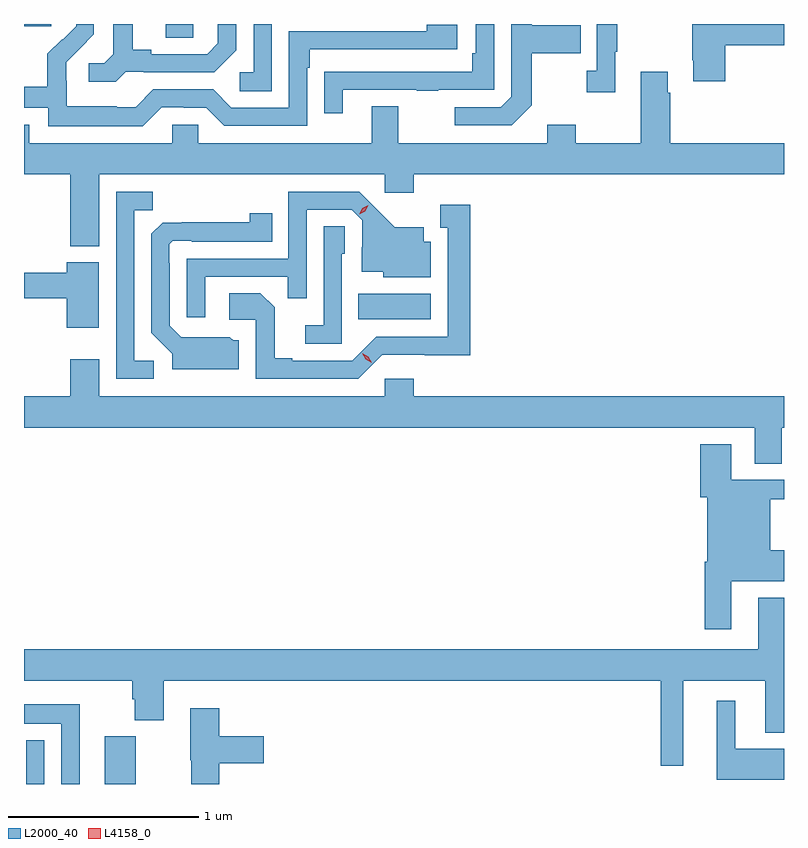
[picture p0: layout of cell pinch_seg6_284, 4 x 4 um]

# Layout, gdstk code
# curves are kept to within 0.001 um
import gdstk
lib = gdstk.Library(unit=1e-6, precision=1e-09)
def R(c, l, rs):  # rectangles x0, y0, x1, y1
    for r in rs: c.add(gdstk.rectangle(r[:2], r[2:], *l))
def P(c, l, *ps):  # polygons
    for p in ps: c.add(gdstk.Polygon(p, *l))
L2000_40 = (2000, 40)
L4158_0 = (4158, 0)

pinch_seg6_284 = lib.new_cell('pinch_seg6_284')
R(pinch_seg6_284, L2000_40, [(862.893,993.412,862.989,993.643), (863.306,993.412,863.47,993.663), (864.64,995.858,865.024,995.992), (863.627,997.339,863.772,997.412), (862.882,997.401,863.026,997.412)])
P(pinch_seg6_284, L2000_40, [(864.186,997.412),(864.09,997.412),(864.09,997.158),(864.018,997.158),(864.018,997.057),(864.186,997.057)],
  [(863.607,996.975),(863.723,996.975),(863.723,996.972),(863.841,996.972),(863.937,996.876),(864.372,996.876),(864.372,997.181),(864.385,997.181),(864.385,997.278),(865.162,997.278),(865.162,997.408),(865.001,997.408),(865.001,997.374),(864.276,997.374),(864.276,996.972),(863.973,996.972),(863.877,997.068),(863.562,997.068),(863.469,996.975),(863.369,996.975),(863.369,996.979),(863.106,996.979),(863.106,997.113),(863.104,997.113),(863.104,997.21),(863.25,997.358),(863.25,997.412),(863.156,997.412),(863.156,997.4),(863.085,997.329),(863.082,997.332),(863.005,997.255),(863.005,997.081),(862.882,997.081),(862.882,996.972),(863.01,996.972),(863.01,996.875),(863.507,996.875)],
  [(865.993,997.265),(866.005,997.265),(866.005,997.412),(865.896,997.412),(865.896,997.166),(865.845,997.166),(865.845,997.053),(865.993,997.053)],
  [(866.573,997.3),(866.882,997.3),(866.882,997.412),(866.398,997.412),(866.398,997.222),(866.405,997.222),(866.405,997.11),(866.573,997.11)],
  [(865.555,996.985),(865.555,997.258),(865.811,997.258),(865.811,997.405),(865.555,997.405),(865.555,997.412),(865.446,997.412),(865.446,997.029),(865.392,996.975),(865.149,996.975),(865.149,996.879),(865.449,996.879)],
  [(863.418,997.161),(863.512,997.161),(863.512,997.158),(863.884,997.158),(864,997.274),(864,997.412),(863.903,997.412),(863.903,997.311),(863.846,997.254),(863.551,997.254),(863.551,997.277),(863.455,997.277),(863.455,997.412),(863.351,997.412),(863.351,997.253),(863.304,997.206),(863.223,997.206),(863.223,997.109),(863.366,997.109)],
  [(864.559,997.065),(864.949,997.065),(864.949,997.06),(865.061,997.06),(865.061,997.065),(865.356,997.065),(865.356,997.412),(865.26,997.412),(865.26,997.258),(865.24,997.258),(865.24,997.161),(864.565,997.161),(864.565,997.16),(864.463,997.16),(864.463,996.942),(864.559,996.942)],
  [(863.278,996.62),(864.78,996.62),(864.78,996.525),(864.932,996.525),(864.932,996.62),(866.882,996.62),(866.882,996.784),(866.282,996.784),(866.282,997.049),(866.269,997.049),(866.269,997.162),(866.129,997.162),(866.129,996.784),(865.785,996.784),(865.785,996.883),(865.637,996.883),(865.637,996.784),(864.853,996.784),(864.853,996.979),(864.713,996.979),(864.713,996.784),(863.799,996.784),(863.799,996.882),(863.661,996.882),(863.661,996.784),(862.909,996.784),(862.909,996.883),(862.882,996.883),(862.882,996.62),(863.126,996.62),(863.126,996.242),(863.278,996.242)],
  [(863.566,995.64),(863.463,995.64),(863.463,996.433),(863.559,996.433),(863.559,996.528),(863.367,996.528),(863.367,995.544),(863.566,995.544)],
  [(863.835,996.081),(864.271,996.081),(864.271,995.968),(864.369,995.968),(864.369,996.435),(864.606,996.435),(864.663,996.378),(864.663,996.236),(864.659,996.236),(864.659,996.107),(864.774,996.107),(864.774,996.08),(865.024,996.08),(865.024,996.265),(864.985,996.265),(864.985,996.343),(864.833,996.343),(864.646,996.528),(864.273,996.528),(864.273,996.177),(863.739,996.177),(863.739,995.868),(863.835,995.868)],
  [(864.768,995.67),(865.231,995.669),(865.231,996.46),(865.073,996.46),(865.073,996.339),(865.112,996.339),(865.112,995.766),(864.735,995.766),(864.609,995.64),(864.295,995.64),(864.295,995.653),(864.201,995.653),(864.201,995.92),(864.125,995.996),(863.961,995.996),(863.961,995.856),(864.102,995.856),(864.102,995.544),(864.642,995.544)],
  [(864.013,995.748),(863.982,995.748),(863.966,995.764),(863.709,995.763),(863.649,995.823),(863.649,996.152),(863.646,996.152),(863.646,996.252),(863.664,996.27),(863.764,996.27),(863.764,996.267),(864.188,996.267),(864.188,996.415),(864.07,996.415),(864.07,996.368),(863.612,996.367),(863.553,996.308),(863.553,995.786),(863.663,995.676),(863.663,995.594),(864.013,995.594)],
  [(864.555,996.204),(864.57,996.204),(864.57,996.347),(864.459,996.347),(864.459,995.827),(864.363,995.827),(864.363,995.73),(864.555,995.73)],
  [(863.275,996.157),(863.108,996.157),(863.108,996.104),(862.882,996.104),(862.882,995.968),(863.108,995.968),(863.108,995.814),(863.275,995.814)],
  [(866.869,995.288),(866.882,995.288),(866.882,995.452),(864.932,995.452),(864.932,995.545),(864.78,995.545),(864.78,995.452),(863.278,995.452),(863.278,995.647),(863.126,995.647),(863.126,995.452),(862.882,995.452),(862.882,995.288),(866.729,995.288),(866.729,995.098),(866.869,995.098)],
  [(866.605,994.478),(866.882,994.478),(866.882,994.642),(866.809,994.642),(866.809,994.912),(866.882,994.912),(866.882,995.013),(866.605,995.013),(866.605,995.2),(866.441,995.2),(866.441,994.92),(866.477,994.92),(866.477,994.582),(866.465,994.582),(866.465,994.227),(866.605,994.227)],
  [(866.353,993.956),(866.783,993.956),(866.783,993.683),(866.882,993.683),(866.882,994.393),(866.747,994.393),(866.747,994.12),(862.882,994.12),(862.882,993.956),(863.453,993.956),(863.453,993.857),(863.465,993.857),(863.465,993.748),(863.618,993.748),(863.618,993.956),(866.232,993.956),(866.232,993.507),(866.353,993.507)],
  [(866.882,993.598),(866.626,993.598),(866.626,993.85),(866.528,993.85),(866.528,993.434),(866.882,993.434)],
  [(863.176,993.832),(862.882,993.832),(862.882,993.728),(863.079,993.728),(863.079,993.412),(863.176,993.412)],
  [(863.909,993.521),(864.145,993.521),(864.145,993.663),(863.909,993.663),(863.909,993.811),(863.756,993.811),(863.756,993.537),(863.763,993.537),(863.763,993.412),(863.909,993.412)])
P(pinch_seg6_284, L4158_0, [(864.711,995.628),(864.68,995.647),(864.663,995.68),(864.663,995.68),(864.663,995.68),(864.694,995.661),(864.711,995.628),(864.711,995.628)],
  [(864.646,996.411),(864.646,996.412),(864.663,996.441),(864.694,996.457),(864.694,996.457),(864.694,996.457),(864.677,996.427),(864.646,996.411)])

lib.write_gds('pinch_seg6_284.gds')
